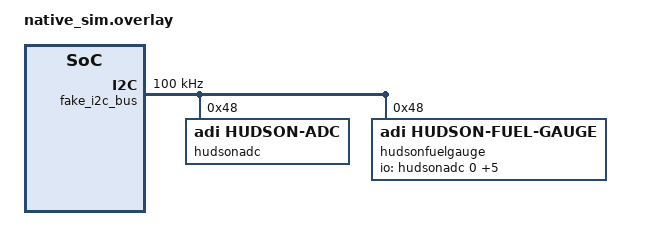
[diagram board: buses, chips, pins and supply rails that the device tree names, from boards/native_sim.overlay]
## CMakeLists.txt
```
cmake_minimum_required(VERSION 3.20.0)
find_package(Zephyr REQUIRED HINTS $ENV{ZEPHYR_BASE})
project(device)

FILE(GLOB app_sources src/test_hudson.c)
target_sources(app PRIVATE ${app_sources})
```

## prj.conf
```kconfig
CONFIG_ZTEST=y
CONFIG_EMUL=y
CONFIG_FUEL_GAUGE=y
CONFIG_FUEL_GAUGE_HUDSON=y
CONFIG_EMUL_HUDSON_GAUGE=y
CONFIG_TEST_USERSPACE=y
CONFIG_I2C=y
CONFIG_ADC_ASYNC=y
CONFIG_ADC_LOG_LEVEL_DBG=y
CONFIG_ADC=y
CONFIG_ADC_HUDSON=y
CONFIG_THREAD_NAME=y
CONFIG_LOG=y
CONFIG_LOG_DEFAULT_LEVEL=3
CONFIG_DEBUG_OPTIMIZATIONS=y
CONFIG_ADC_INIT_PRIORITY=50
CONFIG_FUEL_GAUGE_INIT_PRIORITY=60
```

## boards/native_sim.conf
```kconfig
# SPDX-License-Identifier: Apache-2.0

CONFIG_EMUL=y
CONFIG_EMUL_HUDSON_GAUGE=y
```

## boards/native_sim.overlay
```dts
/*
 * SPDX-License-Identifier: Apache-2.0
 */

/ {
	aliases {
		hudsonadc = &hudsonadc;
		hudsonfuelgauge = &hudsonfuelgauge;
	};
	fake_i2c_bus: i2c@100 {
		status = "okay";
		compatible = "zephyr,i2c-emul-controller";
		clock-frequency = <I2C_BITRATE_STANDARD>;
		#address-cells = <1>;
		#size-cells = <0>;
		reg = <0x100 4>;
	};
};

&fake_i2c_bus {
    hudsonadc: adc@48 {
		status = "okay";
        compatible = "adi,hudson-adc";
        reg = <0x48>;
		#address-cells = <1>;
		#size-cells = <0>;
		#io-channel-cells = <1>;
		vref-mv = <4096>;

		// vBatt
        vbatt: channel@0 {
            reg = <0>;
			zephyr,gain = "ADC_GAIN_1_7";
			zephyr,reference = "ADC_REF_INTERNAL";
			zephyr,acquisition-time = <ADC_ACQ_TIME_DEFAULT>;
			zephyr,resolution = <16>;
        };

		// iSense
        ibatt: channel@1 {
            reg = <1>;
			zephyr,gain = "ADC_GAIN_12";
			zephyr,reference = "ADC_REF_INTERNAL";
			zephyr,acquisition-time = <ADC_ACQ_TIME_DEFAULT>;
			zephyr,resolution = <16>;
        };

		// vThermistor
		batttemp: channel@2 {
			reg = <2>;
			zephyr,gain = "ADC_GAIN_1_2";
			zephyr,reference = "ADC_REF_INTERNAL";
			zephyr,acquisition-time = <ADC_ACQ_TIME_DEFAULT>;
			zephyr,resolution = <16>;
		};

		// vThermistorBias
		dietemp: channel@3 {
			reg = <3>;
			zephyr,gain = "ADC_GAIN_1_4";
			zephyr,reference = "ADC_REF_INTERNAL";
			zephyr,acquisition-time = <ADC_ACQ_TIME_DEFAULT>;
			zephyr,resolution = <16>;
		};

		// vCM Tempsense
		chgtemp: channel@4 {
			reg = <4>;
			zephyr,gain = "ADC_GAIN_1_2";
			zephyr,reference = "ADC_REF_INTERNAL";
			zephyr,acquisition-time = <ADC_ACQ_TIME_DEFAULT>;
			zephyr,resolution = <16>;
		};

		moisture: channel@5 {
			reg = <5>;
			zephyr,gain = "ADC_GAIN_1";
			zephyr,reference = "ADC_REF_INTERNAL";
			zephyr,acquisition-time = <ADC_ACQ_TIME_DEFAULT>;
			zephyr,resolution = <16>;
		};
    };

	hudsonfuelgauge: fuelgauge@48 {
		compatible = "adi,hudson-fuel-gauge";
		reg = <0x48>;
		status = "okay";
		adc = <&hudsonadc>;
		io-channels = <&hudsonadc 0>, <&hudsonadc 1>, <&hudsonadc 2>,
						<&hudsonadc 3>, <&hudsonadc 4>, <&hudsonadc 5>;
		io-channels-names = "VBATT", "IBATT", "BATT-TEMP",
							 "DIE-TEMP", "CHG-TEMP", "MOISTURE";
	};
};
```

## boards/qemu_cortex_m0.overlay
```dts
/*
 * SPDX-License-Identifier: Apache-2.0
 */

/ {
	aliases {
		hudsonadc = &hudsonadc;
		hudsonfuelgauge = &hudsonfuelgauge;
	};
	fake_i2c_bus: i2c@100 {
		status = "okay";
		compatible = "zephyr,i2c-emul-controller";
		clock-frequency = <I2C_BITRATE_STANDARD>;
		#address-cells = <1>;
		#size-cells = <0>;
		reg = <100 4>;
	};
};

&fake_i2c_bus {
    hudsonadc: adc@48 {
		status = "okay";
        compatible = "adi,hudson-adc";
        reg = <0x48>;
		#address-cells = <1>;
		#size-cells = <0>;
		#io-channel-cells = <1>;
		vref-mv = <4096>;

		// vBatt
        vbatt: channel@0 {
            reg = <0>;
			zephyr,gain = "ADC_GAIN_1_7";
			zephyr,reference = "ADC_REF_INTERNAL";
			zephyr,acquisition-time = <ADC_ACQ_TIME_DEFAULT>;
			zephyr,resolution = <16>;
        };

		// iSense
        ibatt: channel@1 {
            reg = <1>;
			zephyr,gain = "ADC_GAIN_12";
			zephyr,reference = "ADC_REF_INTERNAL";
			zephyr,acquisition-time = <ADC_ACQ_TIME_DEFAULT>;
			zephyr,resolution = <16>;
        };

		// vThermistor
		batttemp: channel@2 {
			reg = <2>;
			zephyr,gain = "ADC_GAIN_1_2";
			zephyr,reference = "ADC_REF_INTERNAL";
			zephyr,acquisition-time = <ADC_ACQ_TIME_DEFAULT>;
			zephyr,resolution = <16>;
		};

		// vThermistorBias
		dietemp: channel@3 {
			reg = <3>;
			zephyr,gain = "ADC_GAIN_1_4";
			zephyr,reference = "ADC_REF_INTERNAL";
			zephyr,acquisition-time = <ADC_ACQ_TIME_DEFAULT>;
			zephyr,resolution = <16>;
		};

		// vCM Tempsense
		chgtemp: channel@4 {
			reg = <4>;
			zephyr,gain = "ADC_GAIN_1_2";
			zephyr,reference = "ADC_REF_INTERNAL";
			zephyr,acquisition-time = <ADC_ACQ_TIME_DEFAULT>;
			zephyr,resolution = <16>;
		};

		moisture: channel@5 {
			reg = <5>;
			zephyr,gain = "ADC_GAIN_1";
			zephyr,reference = "ADC_REF_INTERNAL";
			zephyr,acquisition-time = <ADC_ACQ_TIME_DEFAULT>;
			zephyr,resolution = <16>;
		};
    };

	hudsonfuelgauge: fuelgauge@48 {
		compatible = "adi,hudson-fuel-gauge";
		reg = <0x48>;
		status = "okay";
		adc = <&hudsonadc>;
		io-channels = <&hudsonadc 0>, <&hudsonadc 1>, <&hudsonadc 2>,
						<&hudsonadc 3>, <&hudsonadc 4>, <&hudsonadc 5>;
		io-channels-names = "VBATT", "IBATT", "BATT-TEMP",
							 "DIE-TEMP", "CHG-TEMP", "MOISTURE";
	};
};
```

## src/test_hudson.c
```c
#include <zephyr/ztest.h>
#include <zephyr/device.h>
#include <zephyr/devicetree.h>
#include <zephyr/drivers/fuel_gauge.h>
#include <stdlib.h>
#include <math.h>

#define FG_NODE DT_ALIAS(hudsonfuelgauge)
#define BETA 3977         /* Beta coefficient */
#define R25 10000         /* Thermistor resistance at 25 C in ohms */
#define T25_K 298.15      /* 25 C in Kelvin */

struct temp_range {
    uint16_t v_min;
    uint16_t v_max;
};

struct temp_range temp_ranges[] = {
    { 250, 900 }, /* TempSense  */
    { 1, 900 },   /* vTherm  */
    { 800, 1800 } /* Vthmbias  */
};

struct hudson_fixture {
    const struct device *fg;
    const struct fuel_gauge_driver_api *api;
};

int32_t calculate_temperature(uint16_t adc_raw, struct temp_range temp_range, uint32_t r_fixed)
{
    uint32_t r_thermistor;
    int32_t temp_k;

    if (adc_raw < temp_range.v_min || adc_raw > temp_range.v_max) {
        return -1;
    }

    r_thermistor = (uint32_t)r_fixed * adc_raw / (temp_range.v_max - adc_raw);
    temp_k = (int32_t)(BETA / (log((float)r_thermistor / R25) + (BETA / T25_K)));

    return (temp_k - 273.15) * 100;
}

static void *hudson_setup(void)
{
    static ZTEST_DMEM struct hudson_fixture fixture;

    fixture.fg = DEVICE_DT_GET(FG_NODE);
    k_object_access_all_grant(fixture.fg);

    zassert_true(device_is_ready(fixture.fg), "Fuel Gauge not found");

    return &fixture;
}

ZTEST(hudson, test_fuel_gauge_properties)
{
    const struct device *fg = DEVICE_DT_GET(FG_NODE);
    fuel_gauge_prop_t props[] = {
        FUEL_GAUGE_VOLTAGE,
        FUEL_GAUGE_CURRENT,
        FUEL_GAUGE_MOISTURE,
    };
    union fuel_gauge_prop_val vals[ARRAY_SIZE(props)];
    int ret;

    zassert_true(device_is_ready(fg), "Fuel gauge device is not ready");

    ret = fuel_gauge_get_props(fg, props, vals, ARRAY_SIZE(props));
    zassert_equal(ret, 0, "Failed to get fuel gauge properties");

    printk("Voltage: %d.%03d mV\n", vals[0].voltage / 1000, vals[0].voltage % 1000);
    printk("Current: %d.%03d mA\n", vals[1].current / 1000, vals[1].current % 1000);
    printk("Moisture: %d g/m^3\n", vals[2].moisture);

    zassert_equal(vals[0].voltage, 304000, "Voltage mismatch");
    zassert_equal(vals[1].current, 25000, "Current mismatch");
    zassert_equal(vals[2].moisture, 200, "Moisture mismatch");
}

ZTEST(hudson, test_fuel_gauge_temperature)
{
    const struct device *fg = DEVICE_DT_GET(FG_NODE);
    uint16_t temperatures[3];
    int32_t temps[3];
    int ret;
    zassert_true(device_is_ready(fg), "Fuel gauge device is not ready");

    ret = fuel_gauge_get_buffer_prop(fg, FUEL_GAUGE_TEMPERATURE, temperatures, sizeof(temperatures));
    zassert_equal(ret, 0, "Failed to get temperature buffer");

    temps[0] = calculate_temperature(temperatures[0], temp_ranges[0], R25);
    temps[1] = calculate_temperature(temperatures[1], temp_ranges[1], R25);
    temps[2] = calculate_temperature(temperatures[2], temp_ranges[2], R25);

    printk("Battery temp: %d.%02d°C\n", temps[0] / 100, abs(temps[0] % 100));
    printk("Die temp: %d.%02d°C\n", temps[1] / 100, abs(temps[1] % 100));
    printk("Charger temp: %d.%02d°C\n", temps[2] / 100, abs(temps[2] % 100));

    zassert_equal(temps[0], 3485, "Invalid battery temperature");
    zassert_equal(temps[1], 1985, "Invalid die temperature");
    zassert_equal(temps[2], 2985, "Invalid charger temperature");
}

ZTEST_SUITE(hudson, NULL, hudson_setup, NULL, NULL, NULL);
```
